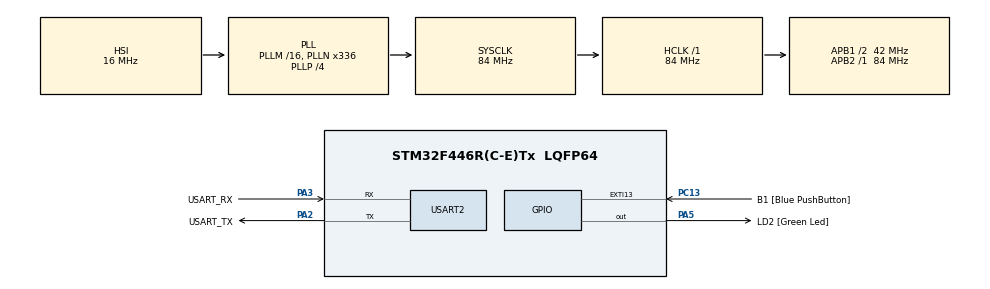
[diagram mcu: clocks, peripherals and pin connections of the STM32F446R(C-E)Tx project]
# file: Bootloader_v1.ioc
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Mcu.Family=STM32F4
Mcu.Name=STM32F446R(C-E)Tx
Mcu.Package=LQFP64
NVIC.PriorityGroup=NVIC_PRIORITYGROUP_0
PA13.GPIO_Label=TMS
PA13.Mode=Serial_Wire
PA13.Signal=SYS_JTMS-SWDIO
PA14.GPIO_Label=TCK
PA14.Mode=Serial_Wire
PA14.Signal=SYS_JTCK-SWCLK
PA2.GPIO_Label=USART_TX
PA2.Mode=Asynchronous
PA2.Signal=USART2_TX
PA3.GPIO_Label=USART_RX
PA3.Mode=Asynchronous
PA3.Signal=USART2_RX
PA5.GPIO_Label=LD2 [Green Led]
PA5.Signal=GPIO_Output
PB3.GPIO_Label=SWO
PB3.Signal=SYS_JTDO-SWO
PC13.GPIO_Label=B1 [Blue PushButton]
PC13.GPIO_ModeDefaultEXTI=GPIO_MODE_IT_FALLING
PC13.Signal=GPXTI13
PC14-OSC32_IN.Mode=LSE-External-Oscillator
PC14-OSC32_IN.Signal=RCC_OSC32_IN
PC15-OSC32_OUT.Mode=LSE-External-Oscillator
PC15-OSC32_OUT.Signal=RCC_OSC32_OUT
PH0-OSC_IN.Mode=HSE-External-Oscillator
PH0-OSC_IN.Signal=RCC_OSC_IN
PH1-OSC_OUT.Mode=HSE-External-Oscillator
PH1-OSC_OUT.Signal=RCC_OSC_OUT
ProjectManager.HeapSize=0x200
ProjectManager.StackSize=0x400
ProjectManager.TargetToolchain=MDK-ARM V5.27
RCC.48MHZClocksFreq_Value=84000000
RCC.AHBFreq_Value=84000000
RCC.APB1CLKDivider=RCC_HCLK_DIV2
RCC.APB1Freq_Value=42000000
RCC.APB1TimFreq_Value=84000000
RCC.APB2Freq_Value=84000000
RCC.APB2TimFreq_Value=84000000
RCC.CortexFreq_Value=84000000
RCC.FLatency-AdvancedSettings=FLASH_LATENCY_2
RCC.HCLKFreq_Value=84000000
RCC.HSE_VALUE=8000000
RCC.HSI_VALUE=16000000
RCC.PLLN=336
RCC.PLLP=RCC_PLLP_DIV4
RCC.SYSCLKFreq_VALUE=84000000
RCC.SYSCLKSource=RCC_SYSCLKSOURCE_PLLCLK
RCC.USBFreq_Value=168000000
RCC.VCOOutputFreq_Value=336000000
USART2.VirtualMode=VM_ASYNC
VP_CRC_VS_CRC.Mode=CRC_Activate
board=NUCLEO-F446RE

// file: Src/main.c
/* USER CODE BEGIN Header */
/**
  ******************************************************************************
  * @file           : main.c
  * @brief          : Main program body
  ******************************************************************************
  * @attention
  *
  * <h2><center>&copy; Copyright (c) 2022 STMicroelectronics.
  * All rights reserved.</center></h2>
  *
  * This software component is licensed by ST under BSD 3-Clause license,
  * the "License"; You may not use this file except in compliance with the
  * License. You may obtain a copy of the License at:
  *                        opensource.org/licenses/BSD-3-Clause
  *
  ******************************************************************************
  */
/* USER CODE END Header */

#include "main.h"

/* USER CODE BEGIN Includes */
#include <stdarg.h>
#include <stdbool.h>
/* USER CODE END Includes */

CRC_HandleTypeDef hcrc;

UART_HandleTypeDef huart2;

void SystemClock_Config(void);
static void MX_GPIO_Init(void);
static void MX_USART2_UART_Init(void);
static void MX_CRC_Init(void);
/* USER CODE BEGIN PFP */
void print_msg( char *format,... );
void jump_to_app(void);
/* USER CODE END PFP */

int main(void)
{
  /* USER CODE BEGIN 1 */
	bool userButton;
  /* USER CODE END 1 */

  /* MCU Configuration--------------------------------------------------------*/

  /* Reset of all peripherals, Initializes the Flash interface and the Systick. */
  HAL_Init();

  /* Configure the system clock */
  SystemClock_Config();

  /* Initialize all configured peripherals */
  MX_GPIO_Init();
  MX_USART2_UART_Init();
  MX_CRC_Init();
  /* USER CODE BEGIN 2 */
  HAL_UART_Transmit(&huart2,(uint8_t *)"Hello from Bootloader!\r\n",15,HAL_MAX_DELAY);
  /* USER CODE END 2 */

  /* Infinite loop */
  /* USER CODE BEGIN WHILE */
  while (1)
  {
	  /* Get the User Button Status */
	  userButton = HAL_GPIO_ReadPin( USER_BUTTON_PORT, USER_BUTTON_PIN );
	  if ( userButton == BUTTON_PRESSED )
	  {
		  print_msg( "[DBG_INFO]: Button Pressed\r\n" );
		  jump_to_app();
	  }
	  else
	  {
		  print_msg( "[DBG_INFO]: Button Not Pressed\r\n" );
	  }
	  uint32_t currentTick = HAL_GetTick();
	  //print_msg( "[DBG_INFO]: curentTick = %d\r\n",currentTick );
	  while( HAL_GetTick() <= ( currentTick + 1000 ) )
	  {
		// Do Nothing
	  }
  }
    /* USER CODE END WHILE */

}

void SystemClock_Config(void)
{
  RCC_OscInitTypeDef RCC_OscInitStruct = {0};
  RCC_ClkInitTypeDef RCC_ClkInitStruct = {0};

  /** Configure the main internal regulator output voltage
  */
  __HAL_RCC_PWR_CLK_ENABLE();
  __HAL_PWR_VOLTAGESCALING_CONFIG(PWR_REGULATOR_VOLTAGE_SCALE3);
  /** Initializes the CPU, AHB and APB busses clocks
  */
  RCC_OscInitStruct.OscillatorType = RCC_OSCILLATORTYPE_HSI;
  RCC_OscInitStruct.HSIState = RCC_HSI_ON;
  RCC_OscInitStruct.HSICalibrationValue = RCC_HSICALIBRATION_DEFAULT;
  RCC_OscInitStruct.PLL.PLLState = RCC_PLL_ON;
  RCC_OscInitStruct.PLL.PLLSource = RCC_PLLSOURCE_HSI;
  RCC_OscInitStruct.PLL.PLLM = 16;
  RCC_OscInitStruct.PLL.PLLN = 336;
  RCC_OscInitStruct.PLL.PLLP = RCC_PLLP_DIV4;
  RCC_OscInitStruct.PLL.PLLQ = 2;
  RCC_OscInitStruct.PLL.PLLR = 2;
  if (HAL_RCC_OscConfig(&RCC_OscInitStruct) != HAL_OK)
  {
    Error_Handler();
  }
  /** Initializes the CPU, AHB and APB busses clocks
  */
  RCC_ClkInitStruct.ClockType = RCC_CLOCKTYPE_HCLK|RCC_CLOCKTYPE_SYSCLK
                              |RCC_CLOCKTYPE_PCLK1|RCC_CLOCKTYPE_PCLK2;
  RCC_ClkInitStruct.SYSCLKSource = RCC_SYSCLKSOURCE_PLLCLK;
  RCC_ClkInitStruct.AHBCLKDivider = RCC_SYSCLK_DIV1;
  RCC_ClkInitStruct.APB1CLKDivider = RCC_HCLK_DIV2;
  RCC_ClkInitStruct.APB2CLKDivider = RCC_HCLK_DIV1;

  if (HAL_RCC_ClockConfig(&RCC_ClkInitStruct, FLASH_LATENCY_2) != HAL_OK)
  {
    Error_Handler();
  }
}

static void MX_CRC_Init(void)
{

  hcrc.Instance = CRC;
  if (HAL_CRC_Init(&hcrc) != HAL_OK)
  {
    Error_Handler();
  }

}

static void MX_USART2_UART_Init(void)
{

  huart2.Instance = USART2;
  huart2.Init.BaudRate = 115200;
  huart2.Init.WordLength = UART_WORDLENGTH_8B;
  huart2.Init.StopBits = UART_STOPBITS_1;
  huart2.Init.Parity = UART_PARITY_NONE;
  huart2.Init.Mode = UART_MODE_TX_RX;
  huart2.Init.HwFlowCtl = UART_HWCONTROL_NONE;
  huart2.Init.OverSampling = UART_OVERSAMPLING_16;
  if (HAL_UART_Init(&huart2) != HAL_OK)
  {
    Error_Handler();
  }

}

static void MX_GPIO_Init(void)
{
  GPIO_InitTypeDef GPIO_InitStruct = {0};

  /* GPIO Ports Clock Enable */
  __HAL_RCC_GPIOC_CLK_ENABLE();
  __HAL_RCC_GPIOH_CLK_ENABLE();
  __HAL_RCC_GPIOA_CLK_ENABLE();
  __HAL_RCC_GPIOB_CLK_ENABLE();

  /*Configure GPIO pin Output Level */
  HAL_GPIO_WritePin(LD2_GPIO_Port, LD2_Pin, GPIO_PIN_RESET);

  /*Configure GPIO pin : B1_Pin */
  GPIO_InitStruct.Pin = B1_Pin;
  GPIO_InitStruct.Mode = GPIO_MODE_IT_FALLING;
  GPIO_InitStruct.Pull = GPIO_NOPULL;
  HAL_GPIO_Init(B1_GPIO_Port, &GPIO_InitStruct);

  /*Configure GPIO pin : LD2_Pin */
  GPIO_InitStruct.Pin = LD2_Pin;
  GPIO_InitStruct.Mode = GPIO_MODE_OUTPUT_PP;
  GPIO_InitStruct.Pull = GPIO_NOPULL;
  GPIO_InitStruct.Speed = GPIO_SPEED_FREQ_LOW;
  HAL_GPIO_Init(LD2_GPIO_Port, &GPIO_InitStruct);

}

/* USER CODE BEGIN 4 */

/**
  * @brief  This function is used to print string in Console over UART.
  * @retval None
  */
void print_msg( char *format,... )
{
#if ( BOOT_DEBUG_MSG == 1 )
	char data[100];
	va_list args;
	va_start(args, format);
	vsprintf(data, format, args);
	HAL_UART_Transmit( VRL_COM_UART, (uint8_t *)data, strlen(data), HAL_MAX_DELAY );
	va_end(args);
#endif
}

/**
  * @brief  This function is used to jump the code to app(0X0800_8000 or Sector 2)
  * 		or FLASH_SECTOR2_BASE_ADDRESS
  * @retval None
  */
void jump_to_app(void)
{
	/*	There are two things we need to take care before switching to App section
	 * 	1. Stack Pointer
	 * 		The very first address in app(0X0800_8000) holds the value of Main Stack Pointer
	 * 		(MSP)
	 *	2. Reset Handler
	 *		The next address in app(0x0800_8000+4) holds the value of the Reset Handler
	 * 	*/

	/* A function to hold the address of the reset handler */
	void (*app_reset_handler_addr)(void);
	print_msg("[DBG_MSG]: Started jump to application\r\n");

	/* 1.Get the MSP by reading the very first address in app */
	uint32_t mspValue = *(volatile uint32_t *)FLASH_SECTOR2_BASE_ADDRESS;
	print_msg("[DBG_INFO]: mspValue = %#x\r\n",mspValue);

	/* Sets the New MSP_value */
	__set_MSP(mspValue);

	/* 2.Get the resetHandlerAddr address from next address and set the new value */
	uint32_t resetHandlerAddr = *( volatile uint32_t *) (FLASH_SECTOR2_BASE_ADDRESS + 4);
	app_reset_handler_addr = (void *)resetHandlerAddr;

	print_msg("[DBG_INFO]: app_reset_handler_addr = %#x\r\n",app_reset_handler_addr);

	/* 3. Jump to the reset handler of the address */
	app_reset_handler_addr();
	/* 4. As we have updated the VECTOR TABLE ADDRESS in App code, it will that instead of Bootloader's */
}
/* USER CODE END 4 */

void Error_Handler(void)
{
}

/************************ (C) COPYRIGHT STMicroelectronics *****END OF FILE****/
